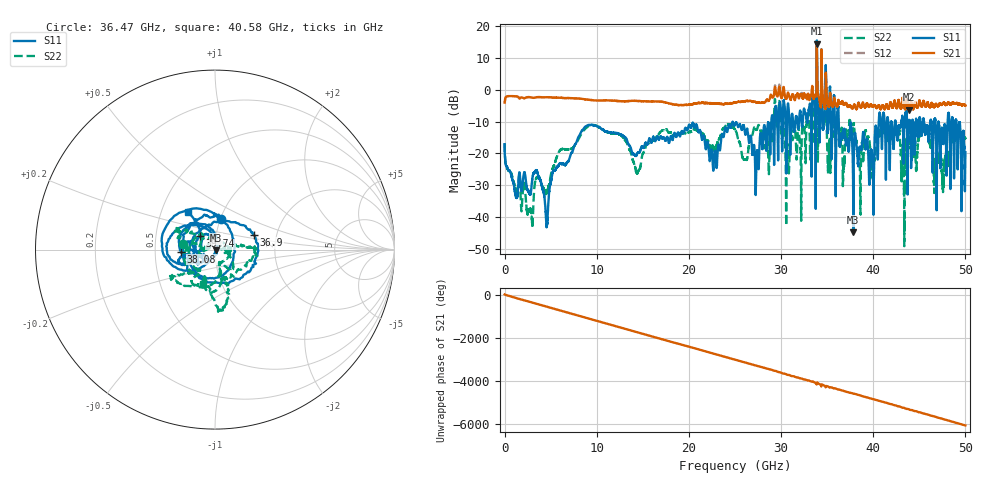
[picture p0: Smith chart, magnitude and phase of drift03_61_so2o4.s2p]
!Created with skrf (http://scikit-rf.org).
# Hz S RI R 50.0
!freq ReS11 ImS11 ReS21 ImS21 ReS12 ImS12 ReS22 ImS22
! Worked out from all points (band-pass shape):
!   10001 points, 300 kHz to 50 GHz, reference 50 ohm
!   highest |S21| = 14.54 dB at 33.88 GHz (marker M1); lowest = -6.3 dB at 43.9 GHz (marker M2)
!   |S21| within 3 dB of the highest: 33.86933 GHz to 33.88816 GHz (18.83 MHz wide, 0.0556 % of centre); 34.37746 GHz to 34.38795 GHz (10.49 MHz wide, 0.0305 % of centre)
!   lowest |S11| = -44.8 dB at 37.84 GHz (marker M3), VSWR 1.01, Z = 50.4 - j0.423 ohm
!   |S11| at or under -10 dB: start of sweep to 28.94 GHz; 36.27 GHz to 40.6 GHz (4.338 GHz wide, 11.3 % of centre); 46.74 GHz to 48.08 GHz (1.335 GHz wide, 2.82 % of centre) (the widest 3 of 58)
!   |S22| runs from -49.3 to 11.1 dB; largest |S21 - S12| = 0.78
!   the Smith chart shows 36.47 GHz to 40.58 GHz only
!   S11 on the Smith chart (normalised r, x): 36.47 GHz: 1.01, +0.36; 36.9 GHz: 1.53, +0.26; 38.08 GHz: 0.68, -0.02; 39.74 GHz: 0.84, +0.13; 40.58 GHz: 0.68, +0.30
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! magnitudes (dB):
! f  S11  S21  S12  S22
! 300 kHz  -17.1  -4.1  -4.1  -16.9
! 2.825 GHz  -32.6  -2.4  -2.4  -38.1
! 4.555 GHz  -43.3  -2.3  -2.3  -32.4
! 8.335 GHz  -13.1  -2.8  -2.8  -13.9
! 14.44 GHz  -19.9  -3.5  -3.5  -26.1
! 16.67 GHz  -15.4  -3.7  -3.7  -14.3
! 22.82 GHz  -19.2  -4.3  -4.3  -19.1
! 25 GHz  -11.0  -4.0  -4.0  -12.5
! 27.39 GHz  -19.4  -4.1  -4.1  -12.4
! 29.6 GHz  -10.5  -2.0  -2.1  -11.6
! 30.7 GHz  -5.8  -1.4  -1.5  -17.2
! 33.34 GHz  -14.4  -0.4  -0.4  -6.9
! 33.88 GHz  15.5  14.5  14.2  11.1
! 36.47 GHz  -15.2  -4.4  -4.4  -14.9
! 36.9 GHz  -12.7  -4.6  -4.6  -20.3
! 37.84 GHz  -44.8  -5.5  -5.5  -11.0
! 38.08 GHz  -14.4  -5.5  -5.4  -17.0
! 39.74 GHz  -19.1  -4.7  -4.6  -22.1
! 40.58 GHz  -11.8  -4.9  -5.0  -13.8
! 41.67 GHz  -12.2  -5.9  -5.9  -15.0
! 43.9 GHz  -9.6  -6.3  -6.2  -17.0
! 50 GHz  -19.7  -5.0  -4.9  -15.2
